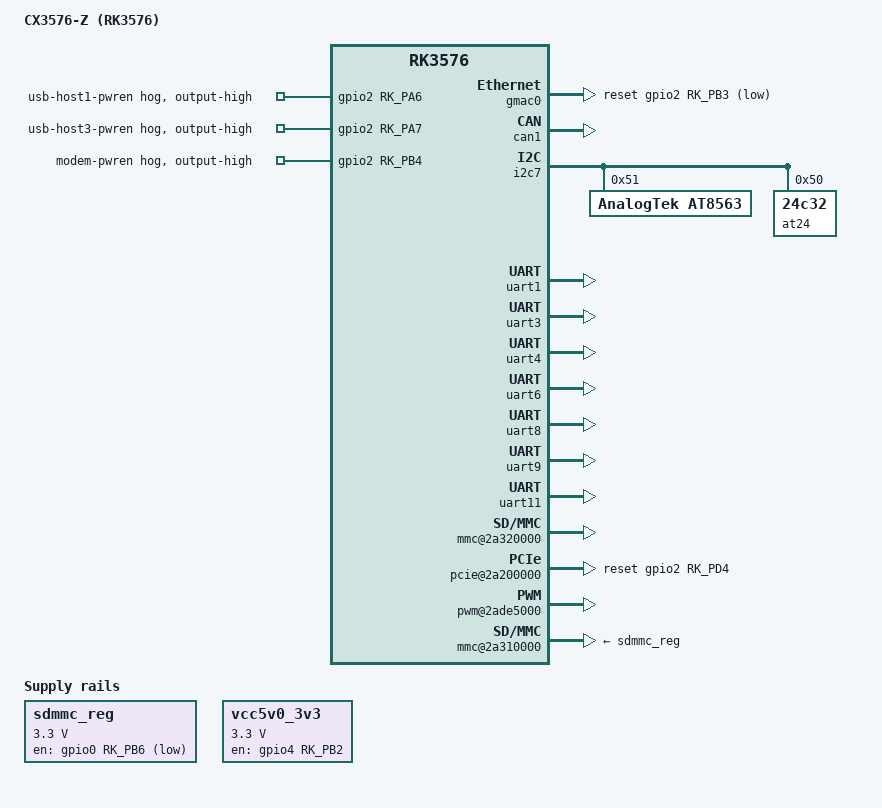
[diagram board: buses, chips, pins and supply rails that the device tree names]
// SPDX-License-Identifier: (GPL-2.0+ OR MIT)
/*
 * CX3576-Z — RK3576 board (Rockchip EVB1 V10 derivative, ODM: jawest),
 * fully open-source board dts
 *
 * Baseline = the include set of upstream rk3576-evb1-v10-linux.dts; board
 * deltas were established by decompiling the vendor dtb and comparing it
 * node-by-node and property-by-property against the upstream build. All
 * verified deltas live in this file.
 *
 * Build: the kernel project makes dtbs together with the kernel →
 * out/kernel/rk3576-src.dtb; the assembly stage uses it as the sole extlinux
 * boot entry.
 *
 * Trimmed (no connector on the board, nodes not brought in): DSI/touch,
 * HDMI-IN (tc35874x), cameras, eDP.
 */

/dts-v1/;

#include "rk3576.dtsi"
#include "rk3576-evb1.dtsi"
#include "rk3576-evb1-cam-dcphy0.dtsi"
#include "rk3576-linux.dtsi"

/ {
	model = "CX3576-Z (RK3576)";
	compatible = "jawest,cx3576z", "rockchip,rk3576-evb1-v10",
		     "rockchip,rk3576";
};

/* The board is an eMMC design with no device on the UFS controller — the BSP
 * ufshcd hangs boot on an empty UFS link. storagemedia=emmc on the cmdline
 * does not stop it; it must be disabled from the dtb.
 */
&ufs {
	status = "disabled";
};

/* The ODM respin moved the YT8531 reset pin from EVB1's gpio2_13 to gpio2_11.
 * With the upstream pin the PHY never comes out of reset and the link never
 * comes up.
 */
&gmac0 {
	snps,reset-gpio = <&gpio2 RK_PB3 GPIO_ACTIVE_LOW>;
};

/* gmac1 is unused; keep it disabled. The two RJ45s on this board are gmac0
 * (YT8531, eth0) + a PCIe NIC (Realtek 10ec:8168 → r8168, see pcie@2a200000
 * below) — the second port goes over PCIe, not gmac1. gmac1's RGMII would
 * occupy gpio2_C/D, conflicting with uart6/9/11, but since it is never
 * enabled this has no effect.
 */
&gmac1 {
	status = "disabled";
};

/* CAN0 has no external connector and is unusable on the real board; disable it
 * explicitly so userspace never sees a bogus can0. */
&can0 {
	status = "disabled";
};

/* CAN1 is the only usable external CAN interface on this board. The vendor
 * enables both CAN0/CAN1 controllers, but the hardware only brings out CAN1;
 * CAN1 keeps the vendor 200MHz clock, m3 pin group and RX DMA.
 */
&can1 {
	status = "okay";
	assigned-clocks = <&cru CLK_CAN1>;
	assigned-clock-rates = <200000000>;
	pinctrl-names = "default";
	pinctrl-0 = <&can1m3_pins>;
	dmas = <&{/dma-controller@2abb0000} 21>;
	dma-names = "rx";
};

/* RTC: the ODM disabled EVB1's hym8563 on i2c2 and put an AnalogTek AT8563 on
 * i2c7 instead. The AT8563 is an HYM8563 clone with no dedicated BSP driver
 * (the vendor uses a private .ko); the haoyu,hym8563 fallback compatible lets
 * the in-tree rtc-hym8563 driver take over (kernel needs RTC_DRV_HYM8563).
 */
&i2c7 {
	status = "okay";

	at8563: rtc@51 {
		compatible = "AnalogTek,AT8563", "haoyu,hym8563";
		reg = <0x51>;
		#clock-cells = <0>;
		clock-output-names = "AT8563";
	};

	/* On-board EEPROM (vendor at24@50, compatible copied verbatim) */
	at24@50 {
		compatible = "24c32";
		reg = <0x50>;
	};
};

/* USB: the OTG port on this board has no Type-C PD — the vendor removed EVB1's
 * whole Type-C stack (husb311 connector graph, the usbdp phy's
 * orientation-switch/sbu pins/endpoints) and switched to the classic extcon
 * scheme. Without the same removal the usbdp phy probe fails with EBUSY → the
 * USB link is crippled (verified on hardware). Everything below aligns item by
 * item with the vendor dtb.
 */
&{/phy@2b010000} {
	rockchip,dp-lane-mux = <2 3>;
	/delete-property/ orientation-switch;
	/delete-property/ sbu1-dc-gpios;
	/delete-property/ sbu2-dc-gpios;
	/delete-property/ svid;
	/delete-node/ port;
};

&{/usb@23000000} {
	extcon = <&u2phy0>;
	/delete-property/ usb-role-switch;
	/delete-node/ port;
};

&u2phy0_otg {
	vbus-supply = <&vbus5v0_typec>;
	/delete-property/ rockchip,typec-vbus-det;
	/* Vendor tuning: disable U2 phy suspend on the OTG port to avoid dropping
	 * the link by spuriously entering suspend in host mode. */
	rockchip,dis-u2-susphy;
};

/* drd0 port VBUS switch: the ODM respin moved it to gpio2_B6 (EVB1 uses
 * gpio0_D1). Without this change host mode toggles the wrong pin and the USB
 * host port and its peripherals never get power.
 */
&vbus5v0_typec {
	gpio = <&gpio2 RK_PB6 GPIO_ACTIVE_HIGH>;
};

/* Stale pinctrl fix: the VBUS enable pin above and the es8388 hp-det pin below
 * were both moved to gpio2, but the matching pinmux groups still point at the
 * old EVB1 pins — GPIO properties right, pinctrl groups wrong, so the pull on
 * the target pins never takes effect and gpio0_D1/D3 are wasted. Aligned with
 * the vendor dtb group values:
 *   usb-otg0-pwren: gpio0_D1 → gpio2_B6 (pull-none)
 *   hp-det        : gpio0_D3 → gpio2_B7 (pull-up)
 */
&{/pinctrl/usb/usb-otg0-pwren} {
	rockchip,pins = <2 RK_PB6 0 &pcfg_pull_none>;
};

&{/pinctrl/headphone/hp-det} {
	rockchip,pins = <2 RK_PB7 0 &pcfg_pull_up>;
};

/* HDMI: the EVB1 baseline gives hdmi an enable-gpios (gpio2_8 = global pin72)
 * that the vendor does not have — on this board that pin belongs to uart1, and
 * keeping the property causes a pin conflict (WARNING storm on hardware:
 * "pin 72 already requested by 27310000.serial").
 */
&{/hdmi@27da0000} {
	/delete-property/ enable-gpios;
};

/* UARTs: the EVB1 baseline only enables uart4; the vendor enables 7 peripheral
 * UARTs. The two physical RS485 ports are confirmed as uart1=/dev/ttyS1 and
 * uart6=/dev/ttyS6, verified with bidirectional TX/RX back-to-back. The
 * remaining UARTs are each filled in with the vendor pinmux groups.
 */
&uart1 {
	status = "okay";
	pinctrl-names = "default";
	pinctrl-0 = <&uart1m1_xfer>;
};

&uart3 {
	status = "okay";
	pinctrl-names = "default";
	pinctrl-0 = <&uart3m1_xfer>;
};

&uart4 {
	status = "okay";
	pinctrl-names = "default";
	pinctrl-0 = <&uart4m1_xfer &uart4m1_ctsn>;
};

&uart6 {
	status = "okay";
	pinctrl-names = "default";
	pinctrl-0 = <&uart6m1_xfer>;
};

&uart8 {
	status = "okay";
	pinctrl-names = "default";
	pinctrl-0 = <&uart8m2_xfer>;
};

&uart9 {
	status = "okay";
	pinctrl-names = "default";
	pinctrl-0 = <&uart9m0_xfer>;
};

&uart11 {
	status = "okay";
	pinctrl-names = "default";
	pinctrl-0 = <&uart11m1_xfer>;
};
/* Note: the uart6/9/11 pins also belong to the gmac1 RGMII bus, but the second
 * NIC on this board goes over PCIe and gmac1 is never enabled, so the three
 * uarts can hold the pins permanently without conflict. */

/* WiFi (SDIO): the EVB1 baseline keeps the SDIO host and pwrseq off; the
 * vendor enables them and wires the pwrseq external clock to the AT8563 RTC's
 * 32kHz output (the clock output of the RTC node above). SDIO pins match on
 * both sides. (The wireless-wlan rfkill node is separately disabled below —
 * this board is AIC, not Broadcom.)
 */
&{/mmc@2a320000} {
	status = "okay";
};

&{/sdio-pwrseq} {
	status = "okay";
	clocks = <&at8563>;
	clock-names = "ext_clock";
};

/* PCIe: the second NIC is a PCIe card on pcie0 (@2a200000); the vendor dtb has
 * pcie0=okay. The reset pin differs from EVB1: EVB1=gpio2_B4 (pin12), this
 * board=gpio2_D4 (pin28) active-high (value from the vendor dtb).
 * pcie1 (@2a210000) stays disabled by the vendor; left untouched.
 * Note: NIC chip = Realtek RTL8168 (PCI 10ec:8168); CONFIG_R8168=y is already
 *       in the kernel config, so once the dts brings the link up it enumerates
 *       as eth1.
 */
&{/pcie@2a200000} {
	status = "okay";
	reset-gpios = <&gpio2 RK_PD4 GPIO_ACTIVE_HIGH>;
	/* The EVB1 base attaches pinmux groups to pcie0; they do not apply on this
	 * board and would conflict, so delete them */
	/delete-property/ pinctrl-names;
	/delete-property/ pinctrl-0;
};

/* i2c devices EVB1 has but this board lacks:
 *   husb311  Type-C controller — the whole node must be deleted (its endpoints
 *            reference the usbdp/usb port labels deleted above; keeping the
 *            node fails the build with a dangling reference)
 *   hym8563  EVB1's RTC (this board uses the AT8563 on i2c7 instead), disabled
 *   imx415@1a EVB1's camera (not brought out on this board, whole group
 *            trimmed), disabled
 */
&{/i2c@2ac50000} {
	/delete-node/ husb311@4e;
};

&{/i2c@2ac50000/hym8563@51} {
	status = "disabled";
};

&{/i2c@2ac70000/imx415@1a} {
	status = "disabled";
};

/* ===== status alignment between the vendor dtb and the evb1 baseline =====
 * Below are all remaining status deltas, aligned with the vendor.
 * The only deliberate exception: &ufs stays disabled — under mainline u-boot
 * the BSP ufshcd hangs boot on an empty UFS link; the vendor u-boot only dares
 * to enable it because of private handling.
 */

/* Enabled by the vendor, disabled in the baseline. Three exceptions are not
 * followed:
 *   route-dp0 — our dp@27e40000 has no endpoint (fallout of the Type-C
 *   removal); enabling it only pollutes the DRM topology;
 *   csi2-dphy0/mipi1-csi2/rkcif-lvds1 — cameras are trimmed; an empty media
 *   chain only produces noise and power draw.
 */
&{/pwm@2ade5000} { status = "okay"; };
&{/watchdog@2ace0000} { status = "okay"; };

/* HDMI-IN: no HDMI-in input on this board; sai4 (sai@2a640000, HDMI-in audio
 * capture) disabled — the vendor dtb also disables this capture port. */
&{/sai@2a640000} { status = "disabled"; };

/* SATA: no SATA connector on this board; the vendor dtb also disables
 * sata@2a240000. Enabling it only spams "SATA link down" on the console.
 */
&{/sata@2a240000} { status = "disabled"; };

/* The whole DSI chain is disabled: the EVB baseline's 1080x1920 portrait panel
 * parameters do not match the vendor's 1920x1080 panel at all — enabled, it
 * only drives the wrong panel. Supporting the on-board panel requires a full
 * port of the vendor panel timings/init sequence/GPIOs/power/mipi-backlight.
 */
&{/dsi@27d80000} { status = "disabled"; };

/* VOP2 plane assignment: the base dtsi gives vp0/1/2 no plane-mask, and the
 * VOP2 driver defaults to all zeros — on hardware: "vpN assign plane
 * mask:[0x0], primary plane INVALID[-1]", i.e. no video port gets a plane =
 * no display output. The vendor dtb assigns mask/primary per port; same SoC,
 * same rockchip,rk3576-vop driver, plane IDs are common, so the values are
 * copied verbatim from the vendor dtb.
 * Note: reset-names (dclk_vpN) is modeled by our kernel's base dtsi and absent
 *       in the vendor kernel version — keep it; GPU clock-names is likewise a
 *       cross-kernel-version binding difference and is not overridden.
 */
&{/vop@27d00000} {
	support-multi-area;
};

&{/vop@27d00000/ports/port@0} {
	rockchip,plane-mask = <0x04>;
	rockchip,primary-plane = <0x02>;
};

&{/vop@27d00000/ports/port@1} {
	rockchip,plane-mask = <0x08>;
	rockchip,primary-plane = <0x03>;
};

&{/vop@27d00000/ports/port@2} {
	rockchip,plane-mask = <0x100>;
	rockchip,primary-plane = <0x08>;
};

/* es8388 sound card: all three EVB-baseline GPIOs are wrong — hp-det on
 * gpio0_27 (vendor: gpio2_B7 active-high), hp-con occupying gpio3_D6 (vendor
 * has no such property; that pin is the vendor's spk-con), spk-con on gpio2_9
 * (= pin73, conflicts with uart1, WARNING on hardware).
 * The speaker is wired to LOUT2/ROUT2 (LOUT1/ROUT1 is the headphone jack);
 * the vendor routes Speaker→LOUT2/ROUT2 — anything else leaves the speaker
 * silent. Aligned item by item with the vendor dtb.
 */
&{/es8388-sound} {
	hp-det-gpio = <&gpio2 RK_PB7 GPIO_ACTIVE_HIGH>;
	spk-con-gpio = <&gpio3 RK_PD6 GPIO_ACTIVE_HIGH>;
	/delete-property/ hp-con-gpio;
	rockchip,audio-routing =
		"Headphone", "LOUT1",
		"Headphone", "ROUT1",
		"Speaker", "LOUT2",
		"Speaker", "ROUT2",
		"Headphone", "Headphone Power",
		"Headphone", "Headphone Power",
		"Speaker", "Speaker Power",
		"Speaker", "Speaker Power",
		"LINPUT1", "Main Mic",
		"LINPUT2", "Main Mic",
		"RINPUT1", "Headset Mic",
		"RINPUT2", "Headset Mic";
};

/* RK806: the vendor has no shutdown-sequence properties; EVB's must not be
 * inherited (they directly affect the PMIC power-down ordering) */
&{/i2c@2ac40000/pmic@23} {
	/delete-property/ shutdown-sequence;
	/delete-property/ vb-shutdown-sequence;
};

/* Disabled by the vendor, enabled in the baseline */
&{/backlight} { status = "disabled"; };
&{/dp0-sound} { status = "disabled"; };
&{/i2c@27300000} { status = "disabled"; };
&{/i2c@27300000/gt1x@14} { status = "disabled"; };
&{/i2c@2ac70000/imx464-0@1a} { status = "disabled"; };
&{/i2c@2ac70000/imx464-1@36} { status = "disabled"; };
&{/i2c@2ac70000/os04a10@36} { status = "disabled"; };
&{/i2c@2ac70000/sc4336@30} { status = "disabled"; };
&{/i2c@2aca0000/icm_acc@68} { status = "disabled"; };
&{/i2c@2aca0000/icm_gyro@68} { status = "disabled"; };

/* ADC keys: no physical key circuit on this board; a floating SARADC channel 1
 * reports phantom key presses. The vendor dtb also disables this. */
&{/adc-keys} { status = "disabled"; };

/* DP (dp@27e40000): the Type-C endpoints are removed and route-dp0 disabled,
 * leaving the controller dangling with no output path. The vendor dtb also
 * disables it. */
&{/dp@27e40000} { status = "disabled"; };

/* SD card power: vendor-only nodes (the baseline SD slot has no supply wired;
 * required for SD rescue boot).
 * vcc_sd: gpio0_B6 active-low enable; vcc5v0_3v3: gpio4_B2 always-on supply. */
/ {
	sdmmc_reg: sdmmc-regulator {
		compatible = "regulator-fixed";
		regulator-name = "vcc_sd";
		regulator-min-microvolt = <3300000>;
		regulator-max-microvolt = <3300000>;
		gpio = <&gpio0 RK_PB6 GPIO_ACTIVE_LOW>;
		enable-active-low;
		pinctrl-names = "default";
		pinctrl-0 = <&sdmmc_pwr>;
	};

	vcc5v0_3v3: vcc5v0-3v3 {
		compatible = "regulator-fixed";
		regulator-name = "vcc5v0_3v3";
		regulator-always-on;
		regulator-boot-on;
		regulator-min-microvolt = <3300000>;
		regulator-max-microvolt = <3300000>;
		gpio = <&gpio4 RK_PB2 GPIO_ACTIVE_HIGH>;
		enable-active-high;
		pinctrl-names = "default";
		pinctrl-0 = <&vcc5v0_3v3_pwren>;
	};
};

&pinctrl {
	sdmmc-pwr-en {
		sdmmc_pwr: sdmmc-pwr {
			rockchip,pins = <0 RK_PB6 0 &pcfg_pull_none>;
		};
	};

	vcc5v0-3v3-en {
		vcc5v0_3v3_pwren: vcc5v0-3v3-pwren {
			rockchip,pins = <4 RK_PB2 0 &pcfg_pull_none>;
		};
	};
};

&{/mmc@2a310000} {
	vmmc-supply = <&sdmmc_reg>;
	/* The evb1 baseline attaches an extra sdmmc0-pwren pinmux group that fights
	 * the vcc_sd regulator for gpio0_B6 (on hardware: pin gpio0-14 already
	 * requested). The vendor uses exactly these 4 groups. */
	pinctrl-0 = <&sdmmc0_clk &sdmmc0_cmd &sdmmc0_det &sdmmc0_bus4>;
};

/* sai1 (es8388 sound card) pins aligned with the vendor: output on sdo2 (evb1
 * wrongly uses sdo0). (sai4 = HDMI-IN capture is disabled; its pin override is
 * removed along with it) */
&{/sai@2a610000} {
	pinctrl-0 = <&sai1m0_lrck &sai1m0_sclk &sai1m0_sdi0 &sai1m0_sdo2>;
};

/* In vendor firmware the power-enable pins below are driven high by the
 * closed-source jwsioc / jawest-ctrl-z driver. We do not port that driver;
 * gpio-hogs make the kernel pull them high automatically at boot. Without
 * this the USB host ports / 4G modem / WiFi get no power.
 *
 * Pin source: the jawest-z-ctrl node in the vendor dtb
 *   host-pwren = gpio0_23   host1-pwren = gpio2_6
 *   host3-pwren = gpio2_7   modem-power = gpio2_12
 * WiFi power gpio1_22 was found by on-device debugging.
 *
 * Note: jawest-z-ctrl also has modem-reset (gpio3_22); its polarity and timing
 * are unknown, and hogging it rashly could leave the 4G modem stuck in reset,
 * so it is left alone here.
 */
/* Caution: gpio0_23 (host-pwren) is already modeled in the evb1 baseline as
 * the vcc5v0-host regulator enable pin (always-on) — no extra hog for it;
 * one pin, one owner.
 */

/* WiFi = AIC8800D80 (SDIO, vid 0xC8A1), not the Broadcom AP6275P declared by
 * the EVB baseline. The whole wireless-wlan (rockchip rfkill_rk) node is
 * disabled — it performs the bcmdhd power-up/init ritual per
 * wifi_chip_type=ap6275p, which is bound to fail on the AIC chip ("failed to
 * power up DHD", ~2.6s wasted), and its rfkill power pin would fight
 * sdio-pwrseq for ownership. With it disabled, WiFi power is handled by
 * sdio-pwrseq (gpio1_C6 reset) and the AIC driver creates wlan0 through its
 * own SDIO probe. Cost: the rfkill OOB host-wake interrupt is lost, falling
 * back to SDIO in-band interrupts; functionality is intact.
 */
&{/wireless-wlan} {
	status = "disabled";
};

/* Caution: there is no WiFi power hog here — gpio1_C6 is owned by sdio-pwrseq
 * (reset-gpios). Adding a hog makes the pwrseq probe fail with -EBUSY and WiFi
 * never enumerates.
 */
&gpio2 {
	usb-host1-pwren-hog {
		gpio-hog;
		gpios = <RK_PA6 GPIO_ACTIVE_HIGH>;
		output-high;
		line-name = "usb-host1-pwren";
	};

	usb-host3-pwren-hog {
		gpio-hog;
		gpios = <RK_PA7 GPIO_ACTIVE_HIGH>;
		output-high;
		line-name = "usb-host3-pwren";
	};

	modem-pwren-hog {
		gpio-hog;
		gpios = <RK_PB4 GPIO_ACTIVE_HIGH>;
		output-high;
		line-name = "modem-pwren";
	};
};
